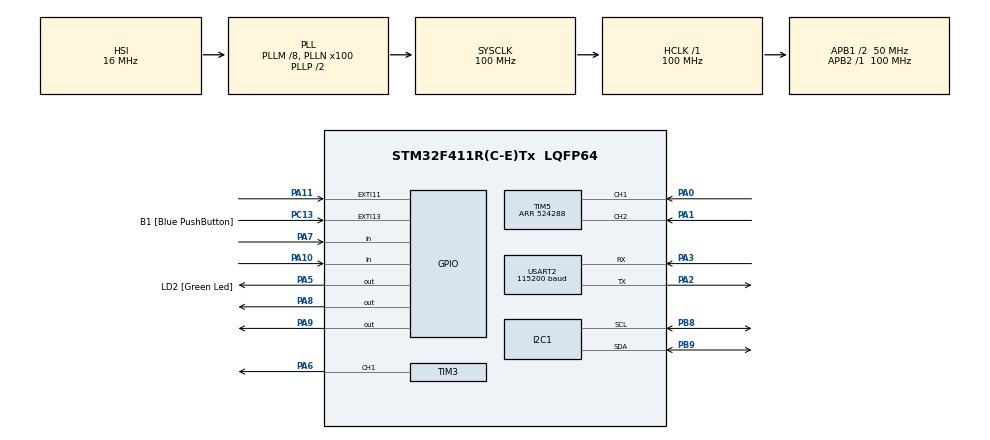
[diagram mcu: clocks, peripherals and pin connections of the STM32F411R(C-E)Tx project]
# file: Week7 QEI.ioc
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ADC1.Channel-1\#ChannelRegularConversion=ADC_CHANNEL_VREFINT
ADC1.ContinuousConvMode=ENABLE
ADC1.DMAContinuousRequests=ENABLE
ADC1.ExternalTrigConv=ADC_EXTERNALTRIGCONV_T3_TRGO
ADC1.ExternalTrigConvEdge=ADC_EXTERNALTRIGCONVEDGE_RISINGFALLING
ADC1.NbrOfConversion=1
ADC1.NbrOfConversionFlag=1
ADC1.Rank-1\#ChannelRegularConversion=1
ADC1.SamplingTime-1\#ChannelRegularConversion=ADC_SAMPLETIME_112CYCLES
ADC1.ScanConvMode=ENABLE
ADC1.master=1
Dma.ADC1.0.Direction=DMA_PERIPH_TO_MEMORY
Dma.ADC1.0.FIFOMode=DMA_FIFOMODE_DISABLE
Dma.ADC1.0.Instance=DMA2_Stream0
Dma.ADC1.0.MemDataAlignment=DMA_MDATAALIGN_WORD
Dma.ADC1.0.MemInc=DMA_MINC_ENABLE
Dma.ADC1.0.Mode=DMA_CIRCULAR
Dma.ADC1.0.PeriphDataAlignment=DMA_PDATAALIGN_WORD
Dma.ADC1.0.PeriphInc=DMA_PINC_DISABLE
Dma.ADC1.0.Priority=DMA_PRIORITY_HIGH
Dma.Request0=ADC1
I2C1.I2C_Mode=I2C_Standard
Mcu.Family=STM32F4
Mcu.Name=STM32F411R(C-E)Tx
Mcu.Package=LQFP64
NVIC.ADC_IRQn=true\:0\:0\:false\:false\:true\:true\:true
NVIC.DMA2_Stream0_IRQn=true\:0\:0\:false\:false\:true\:false\:true
NVIC.EXTI15_10_IRQn=true\:0\:0\:false\:false\:true\:true\:true
NVIC.I2C1_ER_IRQn=true\:0\:0\:false\:false\:true\:true\:true
NVIC.I2C1_EV_IRQn=true\:0\:0\:false\:false\:true\:true\:true
NVIC.PriorityGroup=NVIC_PRIORITYGROUP_0
NVIC.TIM2_IRQn=true\:0\:0\:false\:false\:true\:true\:true
NVIC.TIM3_IRQn=true\:0\:0\:false\:false\:true\:true\:true
NVIC.TIM4_IRQn=true\:0\:0\:false\:false\:true\:true\:true
NVIC.TIM5_IRQn=true\:0\:0\:false\:false\:true\:true\:true
NVIC.USART2_IRQn=true\:0\:0\:false\:false\:true\:true\:true
PA0-WKUP.Signal=S_TIM5_CH1
PA1.Signal=S_TIM5_CH2
PA10.Signal=GPIO_Input
PA11.GPIO_ModeDefaultEXTI=GPIO_MODE_IT_RISING_FALLING
PA11.Signal=GPXTI11
PA13.GPIO_Label=TMS
PA13.Mode=Serial_Wire
PA13.Signal=SYS_JTMS-SWDIO
PA14.GPIO_Label=TCK
PA14.Mode=Serial_Wire
PA14.Signal=SYS_JTCK-SWCLK
PA2.GPIO_ModeDefaultPP=GPIO_MODE_AF_PP
PA2.GPIO_PuPd=GPIO_NOPULL
PA2.GPIO_Speed=GPIO_SPEED_FREQ_VERY_HIGH
PA2.Mode=Asynchronous
PA2.Signal=USART2_TX
PA3.GPIO_ModeDefaultPP=GPIO_MODE_AF_PP
PA3.GPIO_PuPd=GPIO_NOPULL
PA3.GPIO_Speed=GPIO_SPEED_FREQ_VERY_HIGH
PA3.Mode=Asynchronous
PA3.Signal=USART2_RX
PA5.GPIO_Label=LD2 [Green Led]
PA5.Signal=GPIO_Output
PA6.Signal=S_TIM3_CH1
PA7.Signal=GPIO_Input
PA8.Signal=GPIO_Output
PA9.Signal=GPIO_Output
PB3.GPIO_Label=SWO
PB3.Signal=SYS_JTDO-SWO
PB8.Mode=I2C
PB8.Signal=I2C1_SCL
PB9.Mode=I2C
PB9.Signal=I2C1_SDA
PC13-ANTI_TAMP.GPIO_Label=B1 [Blue PushButton]
PC13-ANTI_TAMP.GPIO_ModeDefaultEXTI=GPIO_MODE_IT_RISING_FALLING
PC13-ANTI_TAMP.Signal=GPXTI13
PC14-OSC32_IN.Mode=LSE-External-Oscillator
PC14-OSC32_IN.Signal=RCC_OSC32_IN
PC15-OSC32_OUT.Mode=LSE-External-Oscillator
PC15-OSC32_OUT.Signal=RCC_OSC32_OUT
PH0\ -\ OSC_IN.Mode=HSE-External-Clock-Source
PH0\ -\ OSC_IN.Signal=RCC_OSC_IN
PH1\ -\ OSC_OUT.Mode=HSE-External-Clock-Source
PH1\ -\ OSC_OUT.Signal=RCC_OSC_OUT
ProjectManager.HeapSize=0x200
ProjectManager.StackSize=0x400
ProjectManager.TargetToolchain=STM32CubeIDE
RCC.48MHZClocksFreq_Value=50000000
RCC.AHBFreq_Value=100000000
RCC.APB1CLKDivider=RCC_HCLK_DIV2
RCC.APB1Freq_Value=50000000
RCC.APB1TimFreq_Value=100000000
RCC.APB2Freq_Value=100000000
RCC.APB2TimFreq_Value=100000000
RCC.CortexFreq_Value=100000000
RCC.FLatency-AdvancedSettings=FLASH_LATENCY_3
RCC.HCLKFreq_Value=100000000
RCC.HSE_VALUE=8000000
RCC.HSI_VALUE=16000000
RCC.PLLM=8
RCC.PLLN=100
RCC.SYSCLKFreq_VALUE=100000000
RCC.SYSCLKSource=RCC_SYSCLKSOURCE_PLLCLK
RCC.VCOOutputFreq_Value=200000000
SH.S_TIM3_CH1.0=TIM3_CH1,PWM Generation1 CH1
SH.S_TIM5_CH1.0=TIM5_CH1,Encoder_Interface
SH.S_TIM5_CH2.0=TIM5_CH2,Encoder_Interface
TIM2.Prescaler=99
TIM3.AutoReloadPreload=TIM_AUTORELOAD_PRELOAD_ENABLE
TIM3.Channel-PWM\ Generation1\ CH1=TIM_CHANNEL_1
TIM3.Period=10000
TIM3.Prescaler=0
TIM3.Pulse-PWM\ Generation1\ CH1=0
TIM3.TIM_MasterOutputTrigger=TIM_TRGO_UPDATE
TIM4.Period=1000
TIM4.Prescaler=99
TIM5.EncoderMode=TIM_ENCODERMODE_TI12
TIM5.IC1Polarity=TIM_ICPOLARITY_RISING
TIM5.IC2Polarity=TIM_ICPOLARITY_RISING
TIM5.Period=524288
USART2.BaudRate=115200
USART2.Parity=PARITY_NONE
USART2.VirtualMode=VM_ASYNC
USART2.WordLength=WORDLENGTH_8B
VP_ADC1_Vref_Input.Mode=IN-Vrefint
VP_TIM2_VS_ClockSourceINT.Mode=Internal
VP_TIM3_VS_ClockSourceINT.Mode=Internal
VP_TIM4_VS_ClockSourceINT.Mode=Internal
board=NUCLEO-F411RE

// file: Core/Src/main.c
/* USER CODE BEGIN Header */
/**
 ******************************************************************************
 * @file           : main.c
 * @brief          : Main program body
 ******************************************************************************
 * @attention
 *
 * <h2><center>&copy; Copyright (c) 2021 STMicroelectronics.
 * All rights reserved.</center></h2>
 *
 * This software component is licensed by ST under BSD 3-Clause license,
 * the "License"; You may not use this file except in compliance with the
 * License. You may obtain a copy of the License at:
 *                        opensource.org/licenses/BSD-3-Clause
 *
 ******************************************************************************
 */
/* USER CODE END Header */
#include "main.h"

/* USER CODE BEGIN Includes */
#include <stdio.h>
#include <string.h>
#include <math.h>
#include <stdlib.h>
/* USER CODE END Includes */

/* USER CODE BEGIN PD */
#define END_ADDR 0b00100011
/* USER CODE END PD */

ADC_HandleTypeDef hadc1;
DMA_HandleTypeDef hdma_adc1;

I2C_HandleTypeDef hi2c1;

TIM_HandleTypeDef htim2;
TIM_HandleTypeDef htim3;
TIM_HandleTypeDef htim4;
TIM_HandleTypeDef htim5;

UART_HandleTypeDef huart2;

/* USER CODE BEGIN PV */
uint32_t ADCData[4] = { 0 };
uint64_t _micros = 0;
float EncoderVel = 0;
uint64_t Timestamp_Encoder = 0;
uint64_t Timestamp_Encoder2 = 0;
uint64_t Timestamp_Encoder3 = 0;
uint64_t nx = 0;
float vrpm = 0;
float require = 0;
int32_t EncoderPositionDiff;
uint64_t EncoderTimeDiff;
char TxDataBuffer[32] = { 0 };
char RxDataBuffer[32] = { 0 };
int a0, a1, a2, a3;
int zerostate = 0;
int sclk[2] = { 0 };
float position = 0;
float error = 0;
char status[100];
float Kp = 2000, Ki = 200, Kd = 800, errorpid[2] = { 0 }, sumpid = 0, velocity =
		0;
float pi = 3.14159265358993238462643383;
float ptg = 0, vmax = 0.8, rotationtime = 0, a = 0, distance = 0.0, ttrajec = 0,
		calculatedp = 0, previous = 0;
int activate = 0;
int32_t pwm = 0;
int emergency = 0;
int check = 0;
int buffer[32] = { 0 };
int pointer = 0;
int bytecount = 0;
int mode = 0;
int enable = 0;
int stationnumber = 0;
int frame3check = 0;
int station[10] = { 0, 0, 0, 0, 0, 0, 0, 0, 0, 0 };
int inputchar;
int indexpos = 0;
int laserflag = 0;
int buf = 0;
int gripperstatus = 0;
float dumpvmax = 0.8;
float queue[20] = { 0, 0, 0, 0, 0, 0, 0, 0, 0, 0, 0, 0, 0, 0, 0, 0, 0, 0, 0, 0 };
float qpointer = 0;
float allq = 0;
char temp[];
/* USER CODE END PV */

void SystemClock_Config(void);
static void MX_GPIO_Init(void);
static void MX_DMA_Init(void);
static void MX_USART2_UART_Init(void);
static void MX_TIM2_Init(void);
static void MX_ADC1_Init(void);
static void MX_TIM3_Init(void);
static void MX_TIM4_Init(void);
static void MX_TIM5_Init(void);
static void MX_I2C1_Init(void);
/* USER CODE BEGIN PFP */
uint64_t micros();
float EncoderVelocity_Update();
int16_t UARTRecieveIT();
void UARTMode();
void Laser();
/* USER CODE END PFP */

int main(void) {

	/* MCU Configuration--------------------------------------------------------*/

	/* Reset of all peripherals, Initializes the Flash interface and the Systick. */
	HAL_Init();

	/* Configure the system clock */
	SystemClock_Config();

	/* Initialize all configured peripherals */
	MX_GPIO_Init();
	MX_DMA_Init();
	MX_USART2_UART_Init();
	MX_TIM2_Init();
	MX_ADC1_Init();
	MX_TIM3_Init();
	MX_TIM4_Init();
	MX_TIM5_Init();
	MX_I2C1_Init();
	/* USER CODE BEGIN 2 */
	HAL_TIM_Base_Start_IT(&htim2);
	HAL_TIM_Base_Start(&htim3);
	HAL_TIM_PWM_Start(&htim3, TIM_CHANNEL_1);
	HAL_TIM_Base_Start_IT(&htim4);
	HAL_TIM_Base_Start_IT(&htim5);
	HAL_ADC_Start_DMA(&hadc1, ADCData, 4);
	HAL_TIM_Encoder_Start(&htim5, TIM_CHANNEL_ALL);
	{
//		char temp[] = "Hello world\r\n please type something\r\n";
		uint8_t ack[] = { 0x58, 0x75 };
		HAL_UART_Transmit(&huart2, (uint8_t*) ack, 2, 10);
	}
//	char temp[] ="\x58\x75";
//	HAL_UART_Transmit(&huart2, (uint8_t*) temp,
//			strlen(temp), 1000);
	/* USER CODE END 2 */

	/* Infinite loop */
	while (1) {

		/* USER CODE BEGIN 3 */
		//I2C
		Laser();
		//UART Part
		HAL_UART_Receive_IT(&huart2, (uint8_t*) RxDataBuffer, 4);
		inputchar = UARTRecieveIT();
		if (inputchar != -1) {
//			HAL_Delay(3000);
			UARTMode();
//			static uint8_t data[2] = {0x58,0x75};
//			HAL_UART_Transmit(&huart2, (uint8_t*)data,2, 1000);
//			sprintf(TxDataBuffer, "\x58\x75");
//			HAL_UART_Transmit(&huart2, (uint8_t*) TxDataBuffer,
//					strlen(TxDataBuffer), 1000);
		}
		//PWM set
		if (emergency == 0) {
			if (require == 9988) {
				HAL_GPIO_WritePin(GPIOA, GPIO_PIN_8, 0);
				HAL_GPIO_WritePin(GPIOA, GPIO_PIN_9, 0);
			} else if (require >= 0) {
				HAL_GPIO_WritePin(GPIOA, GPIO_PIN_8, 1);
				HAL_GPIO_WritePin(GPIOA, GPIO_PIN_9, 0);
			} else if (require < 0) {
				HAL_GPIO_WritePin(GPIOA, GPIO_PIN_8, 0);
				HAL_GPIO_WritePin(GPIOA, GPIO_PIN_9, 1);
			}
			if (micros() - Timestamp_Encoder >= 100) {
				__HAL_TIM_SET_COMPARE(&htim3, TIM_CHANNEL_1, pwm);
				Timestamp_Encoder = micros();
				EncoderVel = ((2 * EncoderVel + EncoderVelocity_Update()) / 3);
				vrpm = EncoderVel / 524288 * 60;
			}
			sclk[0] = HAL_GPIO_ReadPin(GPIOA, GPIO_PIN_7);
			if (zerostate == 1) {
				require = 0.2;
				if (sclk[0] == 0 && sclk[1] == 1) {
					pwm = 1200;
					position = 0;
					require = 0;
					zerostate = 0;
					error = (TIM5->CNT);
				}
			}
			sclk[1] = sclk[0];
			position = ((TIM5->CNT) - error) / 524288 * 360;
			if (position < 0) {
				position = 360 + position;
			}
			if (HAL_GPIO_ReadPin(GPIOA, GPIO_PIN_10) == 1) {
				indexpos = position;
			}
			if (micros() - Timestamp_Encoder2 >= 100000) {
				int st1 = position;
				int st2 = vrpm * 6;
				sprintf(status,
						"Position is %d degree Velocity is %d degree/second \r\n",
						st1, st2);
//				HAL_UART_Transmit(&huart2, (uint8_t*) status, strlen(status),
//						10);
				Timestamp_Encoder2 = micros();
			}
		}

	}
	/* USER CODE END 3 */
}

void SystemClock_Config(void) {
	RCC_OscInitTypeDef RCC_OscInitStruct = { 0 };
	RCC_ClkInitTypeDef RCC_ClkInitStruct = { 0 };

	/** Configure the main internal regulator output voltage
	 */
	__HAL_RCC_PWR_CLK_ENABLE();
	__HAL_PWR_VOLTAGESCALING_CONFIG(PWR_REGULATOR_VOLTAGE_SCALE1);
	/** Initializes the RCC Oscillators according to the specified parameters
	 * in the RCC_OscInitTypeDef structure.
	 */
	RCC_OscInitStruct.OscillatorType = RCC_OSCILLATORTYPE_HSI;
	RCC_OscInitStruct.HSIState = RCC_HSI_ON;
	RCC_OscInitStruct.HSICalibrationValue = RCC_HSICALIBRATION_DEFAULT;
	RCC_OscInitStruct.PLL.PLLState = RCC_PLL_ON;
	RCC_OscInitStruct.PLL.PLLSource = RCC_PLLSOURCE_HSI;
	RCC_OscInitStruct.PLL.PLLM = 8;
	RCC_OscInitStruct.PLL.PLLN = 100;
	RCC_OscInitStruct.PLL.PLLP = RCC_PLLP_DIV2;
	RCC_OscInitStruct.PLL.PLLQ = 4;
	if (HAL_RCC_OscConfig(&RCC_OscInitStruct) != HAL_OK) {
		Error_Handler();
	}
	/** Initializes the CPU, AHB and APB buses clocks
	 */
	RCC_ClkInitStruct.ClockType = RCC_CLOCKTYPE_HCLK | RCC_CLOCKTYPE_SYSCLK
			| RCC_CLOCKTYPE_PCLK1 | RCC_CLOCKTYPE_PCLK2;
	RCC_ClkInitStruct.SYSCLKSource = RCC_SYSCLKSOURCE_PLLCLK;
	RCC_ClkInitStruct.AHBCLKDivider = RCC_SYSCLK_DIV1;
	RCC_ClkInitStruct.APB1CLKDivider = RCC_HCLK_DIV2;
	RCC_ClkInitStruct.APB2CLKDivider = RCC_HCLK_DIV1;

	if (HAL_RCC_ClockConfig(&RCC_ClkInitStruct, FLASH_LATENCY_3) != HAL_OK) {
		Error_Handler();
	}
}

static void MX_ADC1_Init(void) {

	ADC_ChannelConfTypeDef sConfig = { 0 };

	/** Configure the global features of the ADC (Clock, Resolution, Data Alignment and number of conversion)
	 */
	hadc1.Instance = ADC1;
	hadc1.Init.ClockPrescaler = ADC_CLOCK_SYNC_PCLK_DIV4;
	hadc1.Init.Resolution = ADC_RESOLUTION_12B;
	hadc1.Init.ScanConvMode = ENABLE;
	hadc1.Init.ContinuousConvMode = ENABLE;
	hadc1.Init.DiscontinuousConvMode = DISABLE;
	hadc1.Init.ExternalTrigConvEdge = ADC_EXTERNALTRIGCONVEDGE_RISINGFALLING;
	hadc1.Init.ExternalTrigConv = ADC_EXTERNALTRIGCONV_T3_TRGO;
	hadc1.Init.DataAlign = ADC_DATAALIGN_RIGHT;
	hadc1.Init.NbrOfConversion = 1;
	hadc1.Init.DMAContinuousRequests = ENABLE;
	hadc1.Init.EOCSelection = ADC_EOC_SINGLE_CONV;
	if (HAL_ADC_Init(&hadc1) != HAL_OK) {
		Error_Handler();
	}
	/** Configure for the selected ADC regular channel its corresponding rank in the sequencer and its sample time.
	 */
	sConfig.Channel = ADC_CHANNEL_VREFINT;
	sConfig.Rank = 1;
	sConfig.SamplingTime = ADC_SAMPLETIME_112CYCLES;
	if (HAL_ADC_ConfigChannel(&hadc1, &sConfig) != HAL_OK) {
		Error_Handler();
	}

}

static void MX_I2C1_Init(void) {

	hi2c1.Instance = I2C1;
	hi2c1.Init.ClockSpeed = 100000;
	hi2c1.Init.DutyCycle = I2C_DUTYCYCLE_2;
	hi2c1.Init.OwnAddress1 = 0;
	hi2c1.Init.AddressingMode = I2C_ADDRESSINGMODE_7BIT;
	hi2c1.Init.DualAddressMode = I2C_DUALADDRESS_DISABLE;
	hi2c1.Init.OwnAddress2 = 0;
	hi2c1.Init.GeneralCallMode = I2C_GENERALCALL_DISABLE;
	hi2c1.Init.NoStretchMode = I2C_NOSTRETCH_DISABLE;
	if (HAL_I2C_Init(&hi2c1) != HAL_OK) {
		Error_Handler();
	}

}

static void MX_TIM2_Init(void) {

	TIM_ClockConfigTypeDef sClockSourceConfig = { 0 };
	TIM_MasterConfigTypeDef sMasterConfig = { 0 };

	htim2.Instance = TIM2;
	htim2.Init.Prescaler = 99;
	htim2.Init.CounterMode = TIM_COUNTERMODE_UP;
	htim2.Init.Period = 4294967295;
	htim2.Init.ClockDivision = TIM_CLOCKDIVISION_DIV1;
	htim2.Init.AutoReloadPreload = TIM_AUTORELOAD_PRELOAD_DISABLE;
	if (HAL_TIM_Base_Init(&htim2) != HAL_OK) {
		Error_Handler();
	}
	sClockSourceConfig.ClockSource = TIM_CLOCKSOURCE_INTERNAL;
	if (HAL_TIM_ConfigClockSource(&htim2, &sClockSourceConfig) != HAL_OK) {
		Error_Handler();
	}
	sMasterConfig.MasterOutputTrigger = TIM_TRGO_RESET;
	sMasterConfig.MasterSlaveMode = TIM_MASTERSLAVEMODE_DISABLE;
	if (HAL_TIMEx_MasterConfigSynchronization(&htim2, &sMasterConfig)
			!= HAL_OK) {
		Error_Handler();
	}

}

static void MX_TIM3_Init(void) {

	TIM_ClockConfigTypeDef sClockSourceConfig = { 0 };
	TIM_MasterConfigTypeDef sMasterConfig = { 0 };
	TIM_OC_InitTypeDef sConfigOC = { 0 };

	htim3.Instance = TIM3;
	htim3.Init.Prescaler = 0;
	htim3.Init.CounterMode = TIM_COUNTERMODE_UP;
	htim3.Init.Period = 10000;
	htim3.Init.ClockDivision = TIM_CLOCKDIVISION_DIV1;
	htim3.Init.AutoReloadPreload = TIM_AUTORELOAD_PRELOAD_ENABLE;
	if (HAL_TIM_Base_Init(&htim3) != HAL_OK) {
		Error_Handler();
	}
	sClockSourceConfig.ClockSource = TIM_CLOCKSOURCE_INTERNAL;
	if (HAL_TIM_ConfigClockSource(&htim3, &sClockSourceConfig) != HAL_OK) {
		Error_Handler();
	}
	if (HAL_TIM_PWM_Init(&htim3) != HAL_OK) {
		Error_Handler();
	}
	sMasterConfig.MasterOutputTrigger = TIM_TRGO_UPDATE;
	sMasterConfig.MasterSlaveMode = TIM_MASTERSLAVEMODE_DISABLE;
	if (HAL_TIMEx_MasterConfigSynchronization(&htim3, &sMasterConfig)
			!= HAL_OK) {
		Error_Handler();
	}
	sConfigOC.OCMode = TIM_OCMODE_PWM1;
	sConfigOC.Pulse = 0;
	sConfigOC.OCPolarity = TIM_OCPOLARITY_HIGH;
	sConfigOC.OCFastMode = TIM_OCFAST_DISABLE;
	if (HAL_TIM_PWM_ConfigChannel(&htim3, &sConfigOC, TIM_CHANNEL_1)
			!= HAL_OK) {
		Error_Handler();
	}
	HAL_TIM_MspPostInit(&htim3);

}

static void MX_TIM4_Init(void) {

	TIM_ClockConfigTypeDef sClockSourceConfig = { 0 };
	TIM_MasterConfigTypeDef sMasterConfig = { 0 };

	htim4.Instance = TIM4;
	htim4.Init.Prescaler = 99;
	htim4.Init.CounterMode = TIM_COUNTERMODE_UP;
	htim4.Init.Period = 1000;
	htim4.Init.ClockDivision = TIM_CLOCKDIVISION_DIV1;
	htim4.Init.AutoReloadPreload = TIM_AUTORELOAD_PRELOAD_DISABLE;
	if (HAL_TIM_Base_Init(&htim4) != HAL_OK) {
		Error_Handler();
	}
	sClockSourceConfig.ClockSource = TIM_CLOCKSOURCE_INTERNAL;
	if (HAL_TIM_ConfigClockSource(&htim4, &sClockSourceConfig) != HAL_OK) {
		Error_Handler();
	}
	sMasterConfig.MasterOutputTrigger = TIM_TRGO_RESET;
	sMasterConfig.MasterSlaveMode = TIM_MASTERSLAVEMODE_DISABLE;
	if (HAL_TIMEx_MasterConfigSynchronization(&htim4, &sMasterConfig)
			!= HAL_OK) {
		Error_Handler();
	}

}

static void MX_TIM5_Init(void) {

	TIM_Encoder_InitTypeDef sConfig = { 0 };
	TIM_MasterConfigTypeDef sMasterConfig = { 0 };

	htim5.Instance = TIM5;
	htim5.Init.Prescaler = 0;
	htim5.Init.CounterMode = TIM_COUNTERMODE_UP;
	htim5.Init.Period = 524288;
	htim5.Init.ClockDivision = TIM_CLOCKDIVISION_DIV1;
	htim5.Init.AutoReloadPreload = TIM_AUTORELOAD_PRELOAD_DISABLE;
	sConfig.EncoderMode = TIM_ENCODERMODE_TI12;
	sConfig.IC1Polarity = TIM_ICPOLARITY_RISING;
	sConfig.IC1Selection = TIM_ICSELECTION_DIRECTTI;
	sConfig.IC1Prescaler = TIM_ICPSC_DIV1;
	sConfig.IC1Filter = 0;
	sConfig.IC2Polarity = TIM_ICPOLARITY_RISING;
	sConfig.IC2Selection = TIM_ICSELECTION_DIRECTTI;
	sConfig.IC2Prescaler = TIM_ICPSC_DIV1;
	sConfig.IC2Filter = 0;
	if (HAL_TIM_Encoder_Init(&htim5, &sConfig) != HAL_OK) {
		Error_Handler();
	}
	sMasterConfig.MasterOutputTrigger = TIM_TRGO_RESET;
	sMasterConfig.MasterSlaveMode = TIM_MASTERSLAVEMODE_DISABLE;
	if (HAL_TIMEx_MasterConfigSynchronization(&htim5, &sMasterConfig)
			!= HAL_OK) {
		Error_Handler();
	}

}

static void MX_USART2_UART_Init(void) {

	huart2.Instance = USART2;
	huart2.Init.BaudRate = 115200;
	huart2.Init.WordLength = UART_WORDLENGTH_8B;
	huart2.Init.StopBits = UART_STOPBITS_1;
	huart2.Init.Parity = UART_PARITY_NONE;
	huart2.Init.Mode = UART_MODE_TX_RX;
	huart2.Init.HwFlowCtl = UART_HWCONTROL_NONE;
	huart2.Init.OverSampling = UART_OVERSAMPLING_16;
	if (HAL_UART_Init(&huart2) != HAL_OK) {
		Error_Handler();
	}

}

static void MX_DMA_Init(void) {

	/* DMA controller clock enable */
	__HAL_RCC_DMA2_CLK_ENABLE();

	/* DMA interrupt init */
	/* DMA2_Stream0_IRQn interrupt configuration */
	HAL_NVIC_SetPriority(DMA2_Stream0_IRQn, 0, 0);
	HAL_NVIC_EnableIRQ(DMA2_Stream0_IRQn);

}

static void MX_GPIO_Init(void) {
	GPIO_InitTypeDef GPIO_InitStruct = { 0 };

	/* GPIO Ports Clock Enable */
	__HAL_RCC_GPIOC_CLK_ENABLE();
	__HAL_RCC_GPIOH_CLK_ENABLE();
	__HAL_RCC_GPIOA_CLK_ENABLE();
	__HAL_RCC_GPIOB_CLK_ENABLE();

	/*Configure GPIO pin Output Level */
	HAL_GPIO_WritePin(GPIOA, LD2_Pin | GPIO_PIN_8 | GPIO_PIN_9, GPIO_PIN_RESET);

	/*Configure GPIO pin : B1_Pin */
	GPIO_InitStruct.Pin = B1_Pin;
	GPIO_InitStruct.Mode = GPIO_MODE_IT_RISING_FALLING;
	GPIO_InitStruct.Pull = GPIO_NOPULL;
	HAL_GPIO_Init(B1_GPIO_Port, &GPIO_InitStruct);

	/*Configure GPIO pins : LD2_Pin PA8 PA9 */
	GPIO_InitStruct.Pin = LD2_Pin | GPIO_PIN_8 | GPIO_PIN_9;
	GPIO_InitStruct.Mode = GPIO_MODE_OUTPUT_PP;
	GPIO_InitStruct.Pull = GPIO_NOPULL;
	GPIO_InitStruct.Speed = GPIO_SPEED_FREQ_LOW;
	HAL_GPIO_Init(GPIOA, &GPIO_InitStruct);

	/*Configure GPIO pins : PA7 PA10 */
	GPIO_InitStruct.Pin = GPIO_PIN_7 | GPIO_PIN_10;
	GPIO_InitStruct.Mode = GPIO_MODE_INPUT;
	GPIO_InitStruct.Pull = GPIO_NOPULL;
	HAL_GPIO_Init(GPIOA, &GPIO_InitStruct);

	/*Configure GPIO pin : PA11 */
	GPIO_InitStruct.Pin = GPIO_PIN_11;
	GPIO_InitStruct.Mode = GPIO_MODE_IT_RISING_FALLING;
	GPIO_InitStruct.Pull = GPIO_NOPULL;
	HAL_GPIO_Init(GPIOA, &GPIO_InitStruct);

	/* EXTI interrupt init*/
	HAL_NVIC_SetPriority(EXTI15_10_IRQn, 0, 0);
	HAL_NVIC_EnableIRQ(EXTI15_10_IRQn);

}

/* USER CODE BEGIN 4 */
void UARTMode() {
	buffer[pointer] = inputchar;
	buf = buffer[pointer];
	if (bytecount == 0) {
		if (inputchar >= 145 && inputchar <= 158) {
			pointer = 0;
			buffer[pointer] = inputchar;
		}
		switch (inputchar) {
		case 145:
			mode = 1;
			bytecount += 1;
			break;
		case 146:
			mode = 2;
			bytecount += 1;
			break;
		case 147:
			mode = 3;
			bytecount += 1;
			break;
		case 148:
			mode = 4;
			bytecount += 1;
			break;
		case 149:
			mode = 5;
			bytecount += 1;
			break;
		case 150:
			mode = 6;
			bytecount += 1;
			break;
		case 151:
			mode = 7;
			bytecount += 1;
			break;
		case 152:
			mode = 8;
			bytecount += 1;
			break;
		case 153:
			mode = 9;
			bytecount += 1;
			break;
		case 154:
			mode = 10;
			bytecount += 1;
			break;
		case 155:
			mode = 11;
			bytecount += 1;
			break;
		case 156:
			mode = 12;
			bytecount += 1;
			break;
		case 157:
			mode = 13;
			bytecount += 1;
			break;
		case 158:
			mode = 14;
			bytecount += 1;
			break;
		default:
			break;
		}
	} else if (mode == 2) {
		if (bytecount == 1
				&& (buffer[pointer] == (buffer[pointer - 1] ^ 0b11111111))) {
			enable = 1;
			uint8_t ack[] = { 0x58, 0x75 };
			HAL_Delay(100);
			HAL_UART_Transmit(&huart2, (uint8_t*) ack, 2, 10);
			mode = 0;
			bytecount = 0;
		} else if (bytecount == 1
				&& (buffer[pointer] != (buffer[pointer - 1] ^ 0b11111111))) {
			mode = 0;
			bytecount = 0;
		}
	} else if (mode == 3) {
		if (bytecount == 1
				&& (buffer[pointer] == (buffer[pointer - 1] ^ 0b11111111))) {
			enable = 0;
			uint8_t ack[] = { 0x58, 0x75 };
			HAL_Delay(100);
			HAL_UART_Transmit(&huart2, (uint8_t*) ack, 2, 10);
			mode = 0;
			bytecount = 0;
		} else if (bytecount == 1
				&& (buffer[pointer] != (buffer[pointer - 1] ^ 0b11111111))) {
			mode = 0;
			bytecount = 0;
		}
	} else if (mode == 4) {
		if (bytecount == 1) {
			bytecount = 2;
		} else if (bytecount == 2) {
			bytecount = 3;
		} else if (bytecount == 3
				&& buffer[pointer]
						== (((buffer[pointer - 1] + buffer[pointer - 2]
								+ buffer[pointer - 3]) % 256) ^ 0b11111111)) {
			uint8_t ack[] = { 0x58, 0x75 };
			HAL_Delay(100);
			HAL_UART_Transmit(&huart2, (uint8_t*) ack, 2, 10);
			vmax = buffer[pointer - 1] / 60.0 * 2.0 * 3.141;
			dumpvmax = vmax;
			mode = 0;
			bytecount = 0;
		} else if (bytecount == 3
				&& buffer[pointer]
						!= (((buffer[pointer - 1] + buffer[pointer - 2]
								+ buffer[pointer - 3]) % 256) ^ 0b11111111)) {
			mode = 0;
			bytecount = 0;
		}
	} else if (mode == 5) {
		if (bytecount == 1) {
			bytecount = 2;
		} else if (bytecount == 2) {
			bytecount = 3;
		} else if (bytecount == 3
				&& buffer[pointer]
						== (((buffer[pointer - 1] + buffer[pointer - 2]
								+ buffer[pointer - 3]) % 256) ^ 0b11111111)) {
			uint8_t ack[] = { 0x58, 0x75 };
			HAL_Delay(100);
			HAL_UART_Transmit(&huart2, (uint8_t*) ack, 2, 10);
			ptg = ((256.0 * buffer[pointer - 2]) + buffer[pointer - 1])
					/ 10000.0;
			mode = 0;
			bytecount = 0;
		} else if (bytecount == 3
				&& buffer[pointer]
						!= (((buffer[pointer - 1] + buffer[pointer - 2]
								+ buffer[pointer - 3]) % 256) ^ 0b11111111)) {
			mode = 0;
			bytecount = 0;
		}
	} else if (mode == 6) {
		if (bytecount == 1) {
			bytecount = 2;
		} else if (bytecount == 2) {
			bytecount = 3;
		} else if (bytecount == 3
				&& buffer[pointer]
						== (((buffer[pointer - 1] + buffer[pointer - 2]
								+ buffer[pointer - 3]) % 256) ^ 0b11111111)) {
			uint8_t ack[] = { 0x58, 0x75 };
			HAL_Delay(100);
			HAL_UART_Transmit(&huart2, (uint8_t*) ack, 2, 10);
			ptg = station[buffer[pointer - 1] - 1];
			mode = 0;
			bytecount = 0;
		} else if (bytecount == 3
				&& buffer[pointer]
						!= (((buffer[pointer - 1] + buffer[pointer - 2]
								+ buffer[pointer - 3]) % 256) ^ 0b11111111)) {
			mode = 0;
			bytecount = 0;
		}
	} else if (mode == 7) {
		if (bytecount == 1) {
			stationnumber = buffer[pointer];
			frame3check += (buffer[pointer] + buffer[pointer - 1]);
			bytecount = 2;
		} else if (bytecount < 2 + stationnumber) {
			frame3check += buffer[pointer];
			bytecount += 1;
		} else if (bytecount == 2 + stationnumber
				&& buffer[pointer] == ((frame3check % 256) ^ 0b11111111)) {
			//set goal n station
			uint8_t ack[] = { 0x58, 0x75 };
			HAL_Delay(100);
			HAL_UART_Transmit(&huart2, (uint8_t*) ack, 2, 10);
			mode = 0;
			bytecount = 0;
			frame3check = 0;
		} else if (bytecount == 2 + stationnumber
				&& buffer[pointer] != ((frame3check % 256) ^ 0b11111111)) {
			mode = 0;
			bytecount = 0;
			frame3check = 0;
		}
	} else if (mode == 8) {
		if (bytecount == 1
				&& (buffer[pointer] == (buffer[pointer - 1] ^ 0b11111111))) {
			activate = 1;
			uint8_t ack[] = { 0x58, 0x75 };
			HAL_Delay(100);
			HAL_UART_Transmit(&huart2, (uint8_t*) ack, 2, 10);
			mode = 0;
			bytecount = 0;
		} else if (bytecount == 1
				&& (buffer[pointer] != (buffer[pointer - 1] ^ 0b11111111))) {
			mode = 0;
			bytecount = 0;
		}
	} else if (mode == 9) {
		if (bytecount == 1
				&& (buffer[pointer] == (buffer[pointer - 1] ^ 0b11111111))) {
			for (int i = 0; i < 10; ++i) {
				if (position - station[i] <= 0.01) {
					sprintf(temp, 'Station %d', i);
					HAL_UART_Transmit(&huart2, (uint8_t*) temp, strlen(temp),
							10);
				}
			}
			mode = 0;
			bytecount = 0;
		} else if (bytecount == 1
				&& (buffer[pointer] != (buffer[pointer - 1] ^ 0b11111111))) {
			mode = 0;
			bytecount = 0;
		}
	} else if (mode == 10) {
		if (bytecount == 1
				&& (buffer[pointer] == (buffer[pointer - 1] ^ 0b11111111))) {
			//request position
			sprintf(temp, '%d degree', position);
			HAL_UART_Transmit(&huart2, (uint8_t*) temp, strlen(temp), 10);
			mode = 0;
			bytecount = 0;
		} else if (bytecount == 1
				&& (buffer[pointer] != (buffer[pointer - 1] ^ 0b11111111))) {
			mode = 0;
			bytecount = 0;
		}
	} else if (mode == 11) {
		if (bytecount == 1
				&& (buffer[pointer] == (buffer[pointer - 1] ^ 0b11111111))) {
			//request Max velocity
			sprintf(temp, '%d rad/s', vmax);
			HAL_UART_Transmit(&huart2, (uint8_t*) temp, strlen(temp), 10);
			mode = 0;
			bytecount = 0;
		} else if (bytecount == 1
				&& (buffer[pointer] != (buffer[pointer - 1] ^ 0b11111111))) {
			mode = 0;
			bytecount = 0;
		}
	} else if (mode == 12) {
		if (bytecount == 1
				&& (buffer[pointer] == (buffer[pointer - 1] ^ 0b11111111))) {
			//enable gripper
			uint8_t ack[] = { 0x58, 0x75 };
			HAL_Delay(100);
			HAL_UART_Transmit(&huart2, (uint8_t*) ack, 2, 10);
			laserflag = 1;
			mode = 0;
			bytecount = 0;
		} else if (bytecount == 1
				&& (buffer[pointer] != (buffer[pointer - 1] ^ 0b11111111))) {
			mode = 0;
			bytecount = 0;
		}
	} else if (mode == 13) {
		if (bytecount == 1
				&& (buffer[pointer] == (buffer[pointer - 1] ^ 0b11111111))) {
			//disable gripper
			uint8_t ack[] = { 0x58, 0x75 };
			HAL_Delay(100);
			HAL_UART_Transmit(&huart2, (uint8_t*) ack, 2, 10);
			mode = 0;
			bytecount = 0;
		} else if (bytecount == 1
				&& (buffer[pointer] != (buffer[pointer - 1] ^ 0b11111111))) {
			mode = 0;
			bytecount = 0;
		}
	} else if (mode == 14) {
		if (bytecount == 1
				&& (buffer[pointer] == (buffer[pointer - 1] ^ 0b11111111))) {
			uint8_t ack[] = { 0x58, 0x75 };
			HAL_Delay(100);
			HAL_UART_Transmit(&huart2, (uint8_t*) ack, 2, 10);
			zerostate = 1;
			mode = 0;
			bytecount = 0;
		} else if (bytecount == 1
				&& (buffer[pointer] != (buffer[pointer - 1] ^ 0b11111111))) {
			mode = 0;
			bytecount = 0;
		}
	}
	pointer += 1;
	if (pointer > 32)
		pointer = 0;
}
void HAL_GPIO_EXTI_Callback(uint16_t GPIO_Pin) {
	if (GPIO_Pin == GPIO_PIN_11) {
		if (HAL_GPIO_ReadPin(GPIOA, GPIO_PIN_11) == 0) {
			emergency = 1;
			HAL_GPIO_WritePin(GPIOA, GPIO_PIN_8, 0);
			HAL_GPIO_WritePin(GPIOA, GPIO_PIN_9, 0);
			pwm = 9000;
		} else {
			require = 0;
			ttrajec = rotationtime + 1;
			pwm = 0;
			emergency = 0;
			sumpid = 0;
			zerostate = 0;
		}

	}
}
int16_t UARTRecieveIT() {
	static uint32_t dataPos = 0;
	int16_t data = -1;
	if (huart2.RxXferSize - huart2.RxXferCount != dataPos) {
		data = RxDataBuffer[dataPos];
		dataPos = (dataPos + 1) % huart2.RxXferSize;
	}
	return data;
}

void HAL_UART_RxCpltCallback(UART_HandleTypeDef *huart) {
	sprintf(TxDataBuffer, "Received:[%d%d%d%d]\r\n", RxDataBuffer[0],
			RxDataBuffer[1], RxDataBuffer[2], RxDataBuffer[3]);
	a0 = RxDataBuffer[0];
	a1 = RxDataBuffer[1];
	a2 = RxDataBuffer[2];
	a3 = RxDataBuffer[3];
	if (a0 == 115 && a1 == 116 && a2 == 111 && a3 == 112) { //stop
		require = 0;
	} else if (a0 == 115 && a1 == 101 && a2 == 116 && a3 == 48) { //set0
		require = 3;
		pwm = 1000;
		zerostate = 1;
	} else if (a0 == 43) { //+
		require = ((RxDataBuffer[1] - 48) * 100) + ((RxDataBuffer[2] - 48) * 10)
				+ ((RxDataBuffer[3] - 48) * 1);
	} else if (a0 == 45) { //-
		require = -1
				* (((RxDataBuffer[1] - 48) * 100)
						+ ((RxDataBuffer[2] - 48) * 10)
						+ ((RxDataBuffer[3] - 48) * 1));
	}
//	HAL_UART_Transmit(&huart2, (uint8_t*) TxDataBuffer, strlen(TxDataBuffer),
//			1000);
}

#define  HTIM_ENCODER htim5
#define  MAX_SUBPOSITION_OVERFLOW 262144
#define  MAX_ENCODER_PERIOD 524288

float EncoderVelocity_Update() {
	//Save Last state
	static uint32_t EncoderLastPosition = 0;
	static uint64_t EncoderLastTimestamp = 0;

	//read data
	uint32_t EncoderNowPosition = HTIM_ENCODER.Instance->CNT;
	uint64_t EncoderNowTimestamp = micros();

	EncoderTimeDiff = EncoderNowTimestamp - EncoderLastTimestamp;
	EncoderPositionDiff = EncoderNowPosition - EncoderLastPosition;

	//compensate overflow and underflow
	if (EncoderPositionDiff >= MAX_SUBPOSITION_OVERFLOW) {
		EncoderPositionDiff -= MAX_ENCODER_PERIOD;
	} else if (-EncoderPositionDiff >= MAX_SUBPOSITION_OVERFLOW) {
		EncoderPositionDiff += MAX_ENCODER_PERIOD;
	}

	//Update Position and time
	EncoderLastPosition = EncoderNowPosition;
	EncoderLastTimestamp = EncoderNowTimestamp;

	//Calculate velocity
	//EncoderTimeDiff is in uS
	return (EncoderPositionDiff * 1000000) / (float) EncoderTimeDiff;

}
void Laser() {
	if (laserflag == 1 && hi2c1.State == HAL_I2C_STATE_READY) {
		static uint8_t data[1] = { 0x45 };
		HAL_I2C_Master_Transmit(&hi2c1, END_ADDR << 1, data, 1, 1000);
		laserflag = 0;
	}
}
void HAL_TIM_PeriodElapsedCallback(TIM_HandleTypeDef *htim) {
	if (htim == &htim2) {
		_micros += 4294967295;
	}
	if (htim == &htim4) {
		if (emergency == 0) {
			if (zerostate == 0) {
				if (activate == 1) {
					ttrajec = 0;
					if (ptg < (2 * pi / 360 * position)) {
						if (((2 * pi / 360 * position) - ptg)
								<= (2 * pi - (2 * pi / 360 * position) + ptg)) {
							distance = ptg - (2 * pi / 360 * position);
						} else {
							distance = 2 * pi - (2 * pi / 360 * position) + ptg;
						}
					} else if (ptg >= (2 * pi / 360 * position)) {
						if (ptg - (2 * pi / 360 * position)
								<= 2 * pi - ptg + (2 * pi / 360 * position)) {
							distance = ptg - (2 * pi / 360 * position);
						} else {
							distance = -(2 * pi - ptg
									+ (2 * pi / 360 * position));
						}
					}
					if (distance >= 0) {
						if (8 / 5 * vmax * vmax / distance >= 0.5) {
							vmax = sqrt(0.5 * distance * 3 / 8);
						}
						rotationtime = (3.00 * distance) / (2 * vmax);
					} else {
						if (-8 / 5 * vmax * vmax / distance >= 0.5) {
							vmax = sqrt(-0.5 * distance * 3 / 8);
						}
						rotationtime = -(3.00 * distance) / (2 * vmax);
					}
					a = 2 * sqrt(vmax) / rotationtime;
					activate = 0;
				}
				if (distance >= 0) {
					require = -(a * a * ttrajec * ttrajec)
							+ (2 * sqrt(vmax) * a * ttrajec);
				} else {
					require = (a * a * ttrajec * ttrajec)
							- (2 * sqrt(vmax) * a * ttrajec);
				}
				if (distance >= 0) {
					calculatedp = (-(a * a * ttrajec * ttrajec * ttrajec / 3)
							+ (sqrt(vmax) * a * ttrajec * ttrajec)) + previous;
				} else {
					calculatedp = ((a * a * ttrajec * ttrajec * ttrajec / 3)
							- (sqrt(vmax) * a * ttrajec * ttrajec)) + previous;
				}
				ttrajec += 0.001;
				if (ttrajec >= rotationtime) {
					a = 0;
					previous = 2 * pi / 360 * position;
					sumpid = 0;
					vmax = dumpvmax;
				}
			}
			// PID
			velocity = EncoderVel / 524288 * (2 * pi);
			if (require == 0)
				errorpid[0] = 0;
			if (require < 0) {
				errorpid[0] = velocity - require;
			}
			if (require > 0) {
				errorpid[0] = require - velocity;
			}
			sumpid = sumpid + errorpid[0];
			pwm = Kp * errorpid[0] + Ki * sumpid
					+ Kd * (errorpid[0] - errorpid[1]);
			errorpid[1] = errorpid[0];
			if (pwm < 0) {
				pwm = -pwm;
			}
			if (pwm > 9001)
				pwm = 9000;
		}
	}
}
uint64_t micros() {
	return _micros + htim2.Instance->CNT;
}
/* USER CODE END 4 */

void Error_Handler(void) {
	__disable_irq();
	while (1) {
	}
}

/************************ (C) COPYRIGHT STMicroelectronics *****END OF FILE****/
